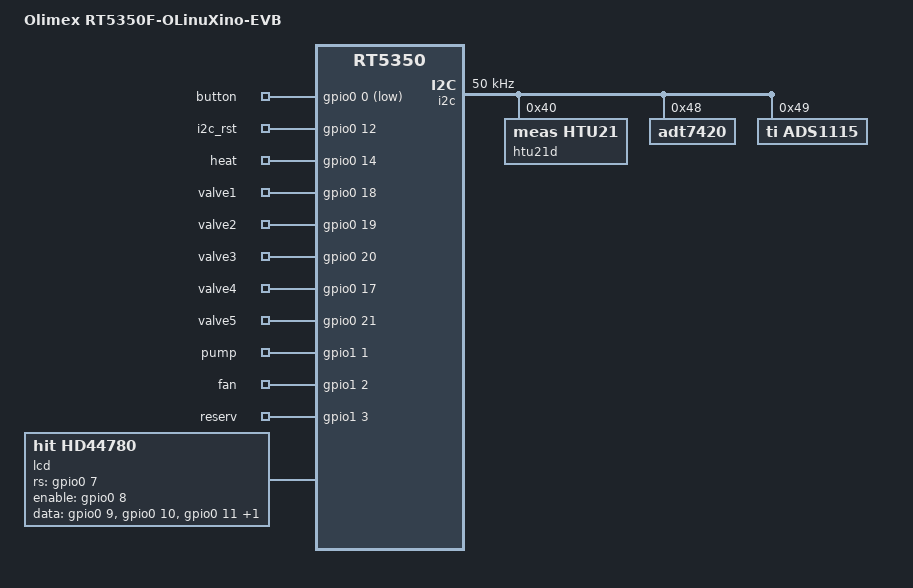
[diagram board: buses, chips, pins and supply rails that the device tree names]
/dts-v1/;

#include "RT5350F-OLINUXINO.dtsi"

#include <dt-bindings/gpio/gpio.h>

/ {
	compatible = "olimex,rt5350f-olinuxino-evb", "ralink,rt5350-soc";
	model = "Olimex RT5350F-OLinuXino-EVB";

	gpio_export {
		compatible = "gpio-export";
		#size-cells = <0>;

		button {
			gpio-export,name = "button";
			gpios = <&gpio0 0 GPIO_ACTIVE_LOW>;
		};

		i2c_rst {
			gpio-export,name = "i2c_rst";
			gpio-export,output = <0>;
			gpios = <&gpio0 12 GPIO_ACTIVE_HIGH>;
		};

		heat {
			gpio-export,name = "heat";
			gpio-export,output = <0>;
			gpios = <&gpio0 14 GPIO_ACTIVE_HIGH>;
		};

		valve1 {
			gpio-export,name = "valve1";
			gpio-export,output = <0>;
			gpios = <&gpio0 18 GPIO_ACTIVE_HIGH>;
		};

		valve2 {
			gpio-export,name = "valve2";
			gpio-export,output = <0>;
			gpios = <&gpio0 19 GPIO_ACTIVE_HIGH>;
		};

		valve3 {
			gpio-export,name = "valve3";
			gpio-export,output = <0>;
			gpios = <&gpio0 20 GPIO_ACTIVE_HIGH>;
		};

		valve4 {
			gpio-export,name = "valve4";
			gpio-export,output = <0>;
			gpios = <&gpio0 17 GPIO_ACTIVE_HIGH>;
		};

		valve5 {
			gpio-export,name = "valve5";
			gpio-export,output = <0>;
			gpios = <&gpio0 21 GPIO_ACTIVE_HIGH>;
		};

		pump {
			gpio-export,name = "pump";
			gpio-export,output = <0>;
			gpios = <&gpio1 1 GPIO_ACTIVE_HIGH>;
		};

		fan {
			gpio-export,name = "fan";
			gpio-export,output = <0>;
			gpios = <&gpio1 2 GPIO_ACTIVE_HIGH>;
		};

		reserv {
			gpio-export,name = "reserv";
			gpio-export,output = <0>;
			gpios = <&gpio1 3 GPIO_ACTIVE_HIGH>;
		};
	};

	lcd {
		compatible = "hit,hd44780";
		display-height-chars = <4>;
		display-width-chars = <20>;
		rs-gpios = <&gpio0 7 GPIO_ACTIVE_HIGH>;		/* rts */
		enable-gpios = <&gpio0 8 GPIO_ACTIVE_HIGH>;	/* txd */
		data-gpios = <&gpio0 9 GPIO_ACTIVE_HIGH>,	/* cts */
			     <&gpio0 10 GPIO_ACTIVE_HIGH>,	/* rxd */
			     <&gpio0 11 GPIO_ACTIVE_HIGH>,	/* dtr */
			     <&gpio0 13 GPIO_ACTIVE_HIGH>;	/* dsr */
	};
};

&uart {
	status = "disabled";
};

&i2c {
	clock-frequency = <50000>;

	t6700@15 {
		reg = <0x15>;
		status = "disabled";
	};

	htu21d@40 {
		compatible = "meas,htu21";
		reg = <0x40>;
	};

	adt7420@48 {
		compatible = "adt7420";
		reg = <0x48>;
	};

	ads1115@49 {
		compatible = "ti,ads1115";
		reg = <0x49>;
		#address-cells = <1>;
		#size-cells = <0>;
		channel@0 {
			reg = <0>;
			ti,gain = <5>;
		};
	};
};
